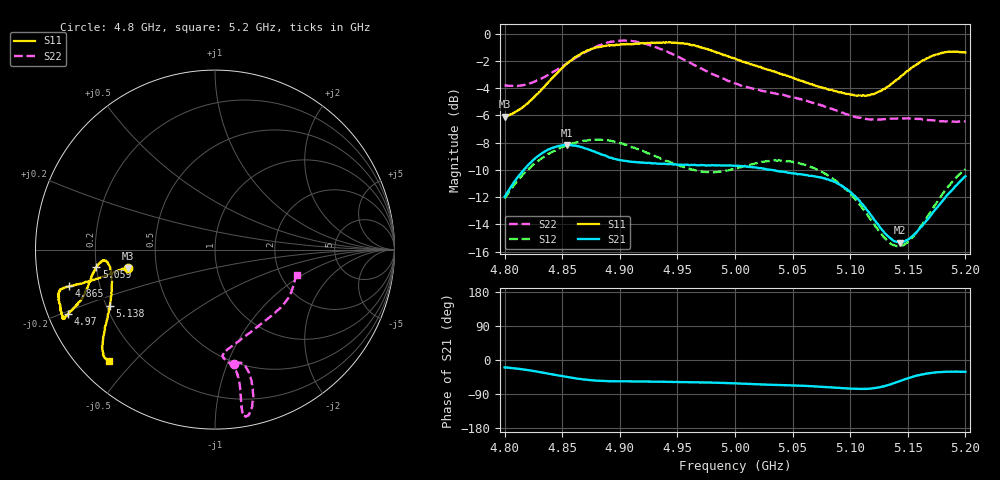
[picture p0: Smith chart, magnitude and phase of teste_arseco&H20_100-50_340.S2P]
! Network Analyzer HP8722D
! Hewlett-Packard
! Data name: Linha & Wilkinson
! Saver's name: Rodrigo Anjos
! Comments: Teste da utilização de aquisição
! continua pelo VNA HP8722D
! Time and date: 6/5/2025 15:24
!  Frequency  S11  S21  S12  S22
# HZ  S  MA R 50
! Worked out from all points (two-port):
!   401 points, 4.8 GHz to 5.2 GHz, reference 50 ohm
!   highest |S21| = -8.16 dB at 4.854 GHz (marker M1); lowest = -15.3 dB at 5.143 GHz (marker M2)
!   |S21| within 3 dB of the highest: 4.806 GHz to 5.092 GHz (286.3 MHz wide, 5.78 % of centre); 5.191829 GHz to end of sweep
!   lowest |S11| = -6.1 dB at 4.8 GHz (marker M3), VSWR 2.97, Z = 17 - j4.59 ohm
!   |S11| at or under -10 dB: nowhere
!   |S22| runs from -6.5 to -0.5 dB; largest |S21 - S12| = 0.62
!   S11 on the Smith chart (normalised r, x): 4.8 GHz: 0.34, -0.09; 4.865 GHz: 0.09, -0.12; 4.97 GHz: 0.06, -0.21; 5.059 GHz: 0.20, -0.07; 5.138 GHz: 0.21, -0.24; 5.2 GHz: 0.09, -0.43
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4.8e9  0.4962 -168.2  0.2518 -19.5  0.2483 -140.8  0.6481 -80.4
4.827e9  0.593 -167.1  0.3504 -29.9  0.3362 -144.5  0.6704 -75.5
4.854e9  0.7769 -165.8  0.3907 -44.9  0.3893 -149.7  0.7793 -74.6
4.865e9  0.8387 -166.0  0.3851 -49.8  0.401 -151.6  0.8318 -75.2
4.867e9  0.8488 -165.9  0.3838 -50.8  0.4028 -151.9  0.842 -75.4
4.898e9  0.9098 -162.8  0.345 -56.1  0.3982 -156.4  0.9426 -78.8
4.914e9  0.9208 -159.5  0.3377 -56.3  0.3793 -157.0  0.9369 -80.2
4.934e9  0.9281 -156.3  0.333 -57.5  0.3511 -155.6  0.8835 -80.5
4.97e9  0.8943 -156.3  0.3295 -59.0  0.3128 -146.9  0.7472 -79.6
5e9  0.8115 -158.9  0.3275 -61.8  0.3196 -137.2  0.6572 -81.2
5.036e9  0.7222 -165.5  0.3135 -65.9  0.342 -134.3  0.6025 -85.7
5.059e9  0.6685 -171.5  0.3039 -68.1  0.3317 -136.0  0.5733 -84.5
5.067e9  0.6526 -173.0  0.3009 -69.1  0.3233 -136.7  0.5588 -82.6
5.087e9  0.6159 -174.3  0.2852 -73.0  0.2894 -138.5  0.5247 -74.9
5.103e9  0.5956 -171.4  0.2555 -76.1  0.2506 -138.6  0.497 -65.3
5.118e9  0.5991 -164.2  0.2159 -75.1  0.207 -134.6  0.4844 -54.3
5.134e9  0.6446 -154.3  0.1783 -65.3  0.1706 -120.7  0.4871 -43.2
5.138e9  0.6663 -151.9  0.1731 -61.2  0.1672 -115.7  0.4878 -40.9
5.143e9  0.6911 -149.2  0.1708 -55.8  0.1661 -109.0  0.4892 -37.9
5.154e9  0.7549 -144.3  0.1806 -44.5  0.1789 -95.0  0.4879 -32.2
5.172e9  0.8333 -138.9  0.221 -33.6  0.2297 -81.1  0.4807 -24.6
5.2e9  0.8539 -133.6  0.2996 -31.3  0.3187 -76.8  0.4775 -17.5
